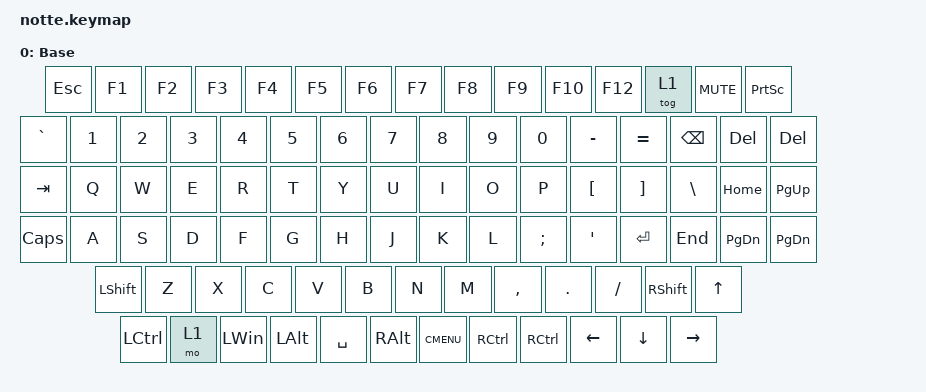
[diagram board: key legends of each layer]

#include <dt-bindings/zmk/pointing.h>
#include <behaviors.dtsi>
#include <dt-bindings/zmk/keys.h>

/ {
    // behaviors {
    //     volume_encoder: volume_encoder {
    //         compatible = "zmk,behavior-sensor-rotate";
    //         #sensor-binding-cells = <0>;
    //         bindings = <&rgb_ug RGB_BRI>, <&rgb_ug RGB_BRD>;


    //     };

    // };

    notte.keymap: default_keymap {
        compatible = "zmk,keymap";
        default_layer {
            display-name = "Base";
            
            // DOUBLED DELETED, RCTRL, C_MUTE
            bindings = <
                &kp ESC &kp F1 &kp F2 &kp F3 &kp F4 &kp F5 &kp F6 &kp F7 &kp F8 &kp F9 &kp F10 &kp F12 &tog 1 &kp C_MUTE &kp PRINTSCREEN
                &kp GRAVE &kp N1 &kp N2 &kp N3 &kp N4 &kp N5 &kp N6 &kp N7 &kp N8 &kp N9 &kp N0 &kp MINUS &kp EQUAL &kp BACKSPACE &kp DELETE &kp DELETE
                &kp TAB &kp Q &kp W &kp E &kp R &kp T &kp Y &kp U &kp I &kp O &kp P &kp LEFT_BRACKET &kp RIGHT_BRACKET &kp BACKSLASH &kp HOME &kp PG_UP
                &kp CAPS &kp A &kp S &kp D &kp F &kp G &kp H &kp J &kp K &kp L &kp SEMICOLON &kp APOSTROPHE &kp ENTER &kp END &kp PG_DN &kp PG_DN
                &kp LSHIFT &kp Z &kp X &kp C &kp V &kp B &kp N &kp M &kp COMMA &kp PERIOD &kp SLASH &kp RSHIFT &kp UP
                &kp LCTRL &mo 1 &kp LWIN &kp LALT &kp SPACE &kp RALT &kp K_CMENU &kp RCTRL &kp RCTRL &kp LEFT &kp DOWN &kp RIGHT  
            >;


            // sensor-bindings = <
            //     &inc_dec_kp C_VOL_UP C_VOL_DN &inc_dec_kp C_BRI_UP C_BRI_DN
            // >;

        };
    };
};
